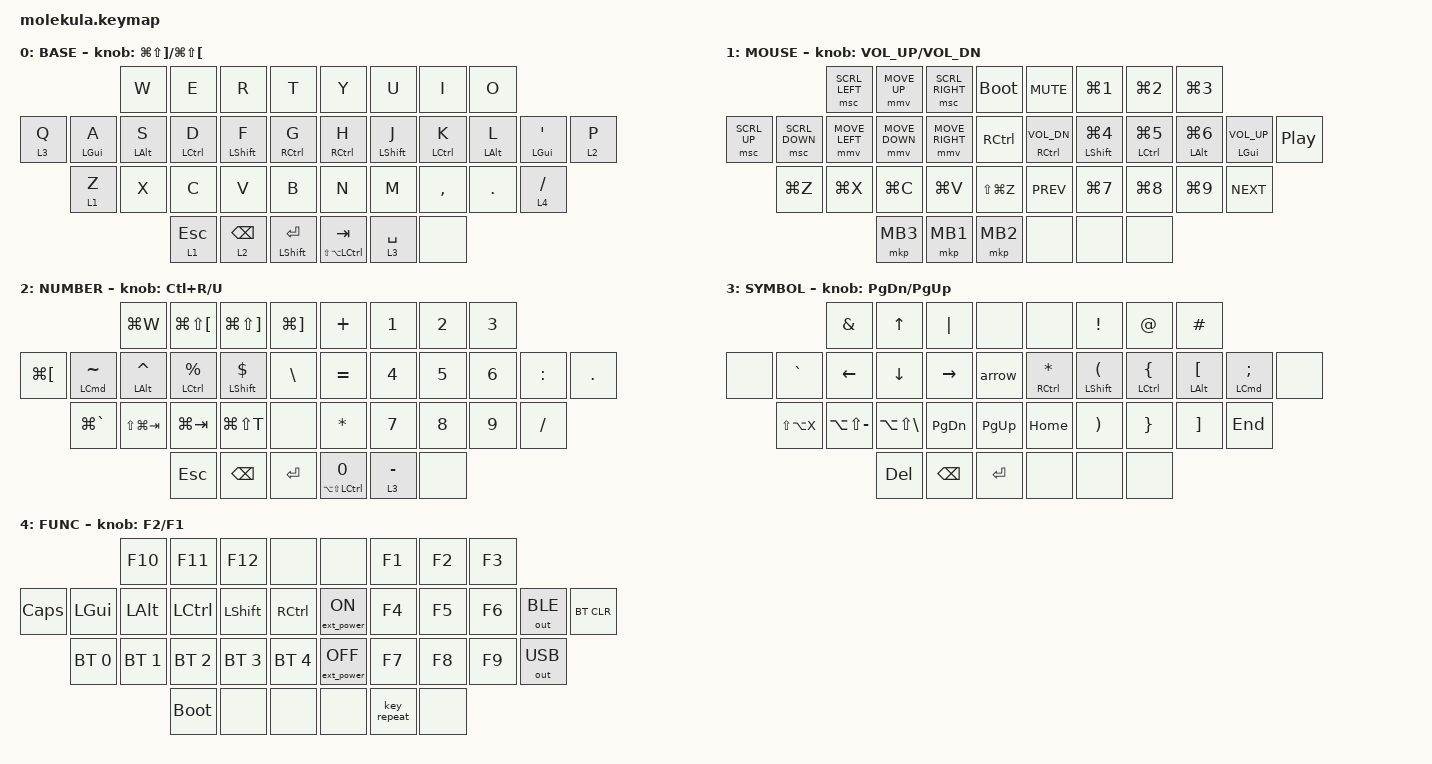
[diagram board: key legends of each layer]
#include <behaviors.dtsi>
#include <dt-bindings/zmk/bt.h>
#include <dt-bindings/zmk/ext_power.h>
#include <dt-bindings/zmk/keys.h>
#include <dt-bindings/zmk/outputs.h>
#include <dt-bindings/zmk/pointing.h>
#include <dt-bindings/zmk/pointing.h>
#include <dt-bindings/zmk/pointing.h>

&encoder { status = "okay"; };

&caps_word { continue-list = <BACKSPACE DELETE LEFT MINUS RIGHT UNDERSCORE>; };

/ {
    behaviors {
        hml: hml {
            compatible = "zmk,behavior-hold-tap";
            label = "HML";
            bindings = <&kp>, <&kp>;

            #binding-cells = <2>;
            tapping-term-ms = <175>;
            quick-tap-ms = <175>;
            require-prior-idle-ms = <150>;
            flavor = "tap-preferred";
            hold-trigger-key-positions = <4 5 6 7 19 18 17 16 15 14 25 26 27 28 29 35 34 33>;
            hold-trigger-on-release;
        };

        hmr: hmr {
            compatible = "zmk,behavior-hold-tap";
            label = "HMR";
            bindings = <&kp>, <&kp>;

            #binding-cells = <2>;
            tapping-term-ms = <175>;
            quick-tap-ms = <175>;
            require-prior-idle-ms = <150>;
            flavor = "tap-preferred";
            hold-trigger-key-positions = <2 3 1 0 8 9 10 11 12 13 20 21 22 23 24 30 31 32>;
            hold-trigger-on-release;
        };
    };

    macros {
        arrow: m_arrow {
            compatible = "zmk,behavior-macro";
            #binding-cells = <0>;
            bindings = <&kp EQUAL &kp GT>;
        };
    };

    combos {
        compatible = "zmk,combos";

        thumbcombos_base_left_left {
            bindings = <&caps_word>;
            key-positions = <30 31>;
        };

        thumbcombos_base_left_right {
            bindings = <&lt 4 CAPS>;
            key-positions = <32 31>;
        };

        thumbcombos_base_right_left {
            bindings = <&mt LC(LA(LS(LGUI))) UNDER>;
            key-positions = <33 34>;
        };

        thumbcombos_ms_right {
            bindings = <&mkp MB3>;
            key-positions = <33 34>;
            layers = <1>;
        };

        thumbcombos_num_left_left {
            bindings = <&kp TAB>;
            key-positions = <30 31>;
            layers = <2>;
        };

        thumbcombos_num_left_right {
            bindings = <&kp SPACE>;
            key-positions = <32 31>;
            layers = <2>;
        };

        thumbcombos_num_right {
            bindings = <&mt LS(LA(LC(LGUI))) DOT>;
            key-positions = <33 34>;
            layers = <2>;
        };

        rf {
            bindings = <&kp RBKT>;
            key-positions = <2 12>;
        };

        uj {
            bindings = <&kp LBKT>;
            key-positions = <5 15>;
        };

        hj {
            bindings = <&key_repeat>;
            key-positions = <14 15>;
        };

        ws {
            bindings = <&kp LBKT>;
            key-positions = <0 10>;
        };

        ol {
            bindings = <&kp RBKT>;
            key-positions = <7 17>;
        };
    };

    keymap {
        compatible = "zmk,keymap";

        base_layer {
            display-name = "BASE";
            bindings = <
                      &kp W        &kp E         &kp R         &kp T               &kp Y                  &kp U         &kp I         &kp O
&lt 3 Q  &hml LGUI A  &hml LALT S  &hml LCTRL D  &hml LSHFT F  &hml RCTRL G        &hmr RCTRL H           &hmr LSHFT J  &hmr LCTRL K  &hmr LALT L  &hmr LGUI SQT  &lt 2 P
         &lt 1 Z      &kp X        &kp C         &kp V         &kp B               &kp N                  &kp M         &kp COMMA     &kp DOT      &lt 4 FSLH
                                   &lt 1 ESC     &lt 2 BSPC    &mt LSHIFT ENTER    &mt LS(LA(LCTRL)) TAB  &lt 3 SPACE   &none
            >;

            sensor-bindings = <&inc_dec_kp LG(LS(RBKT)) LG(LS(LBKT))>;
        };

        mouse_layer {
            display-name = "MOUSE";
            bindings = <
                              &msc SCRL_LEFT  &mmv MOVE_UP    &msc SCRL_RIGHT  &bootloader      &kp C_MUTE          &kp LG(N1)        &kp LG(N2)        &kp LG(N3)
&msc SCRL_UP  &msc SCRL_DOWN  &mmv MOVE_LEFT  &mmv MOVE_DOWN  &mmv MOVE_RIGHT  &kp RCTRL        &mt RCTRL C_VOL_DN  &mt LSHFT LG(N4)  &mt LCTRL LG(N5)  &mt LALT LG(N6)  &mt LGUI C_VOL_UP  &kp C_PP
              &kp LG(Z)       &kp LG(X)       &kp LG(C)       &kp LG(V)        &kp LS(LG(Z))    &kp C_PREV          &kp LG(N7)        &kp LG(N8)        &kp LG(N9)       &kp C_NEXT
                                              &mkp MB3        &mkp MB1         &mkp MB2         &none               &none             &none
            >;

            sensor-bindings = <&inc_dec_kp C_VOL_UP C_VOL_DN>;
        };

        number_layer {
            display-name = "NUMBER";
            bindings = <
                              &kp LG(W)        &kp LG(LS(LBKT))  &kp LG(LS(RBKT))  &kp LG(RBKT)    &kp PLUS              &kp N1       &kp N2  &kp N3
&kp LG(LBKT)  &mt LCMD TILDE  &mt LALT CARET   &mt LCTRL PRCNT   &mt LSHFT DLLR    &kp BSLH        &kp EQUAL             &kp N4       &kp N5  &kp N6  &kp COLON  &kp DOT
              &kp LG(GRAVE)   &kp LS(LG(TAB))  &kp LG(TAB)       &kp LG(LS(T))     &none           &kp STAR              &kp N7       &kp N8  &kp N9  &kp FSLH
                                               &kp ESC           &kp BSPC          &kp RET         &mt LA(LS(LCTRL)) N0  &lt 3 MINUS  &none
            >;

            sensor-bindings = <&inc_dec_kp LC(R) U>;
        };

        symbol_layer {
            display-name = "SYMBOL";
            bindings = <
                      &kp AMPS           &kp UP            &kp PIPE   &none        &none           &kp EXCL        &kp AT          &kp HASH
&none  &kp GRAVE      &kp LEFT           &kp DOWN          &kp RIGHT  &arrow       &mt RCTRL STAR  &mt LSHFT LPAR  &mt LCTRL LBRC  &mt LALT LBKT  &mt LCMD SEMI  &none
       &kp LS(LA(X))  &kp LA(LS(MINUS))  &kp LA(LS(BSLH))  &kp PG_DN  &kp PG_UP    &kp HOME        &kp RPAR        &kp RBRC        &kp RBKT       &kp END
                                         &kp DEL           &kp BSPC   &kp RET      &none           &none           &none
            >;

            sensor-bindings = <&inc_dec_kp PG_DN PG_UP>;
        };

        function_layer {
            display-name = "FUNC";
            bindings = <
                        &kp F10       &kp F11       &kp F12       &none           &none              &kp F1       &kp F2  &kp F3
&kp CAPS  &kp LGUI      &kp LALT      &kp LCTRL     &kp LSHFT     &kp RCTRL       &ext_power EP_ON   &kp F4       &kp F5  &kp F6  &out OUT_BLE  &bt BT_CLR
          &bt BT_SEL 0  &bt BT_SEL 1  &bt BT_SEL 2  &bt BT_SEL 3  &bt BT_SEL 4    &ext_power EP_OFF  &kp F7       &kp F8  &kp F9  &out OUT_USB
                                      &bootloader   &none         &none           &none              &key_repeat  &none
            >;

            sensor-bindings = <&inc_dec_kp F2 F1>;
        };
    };
};
